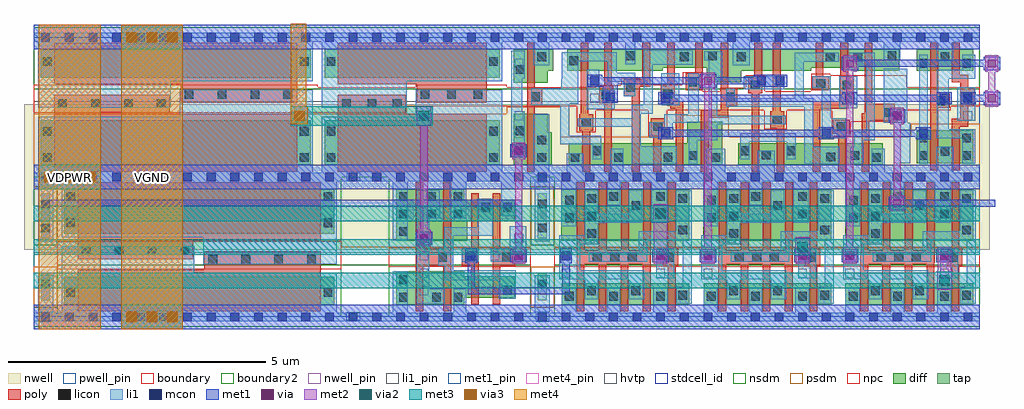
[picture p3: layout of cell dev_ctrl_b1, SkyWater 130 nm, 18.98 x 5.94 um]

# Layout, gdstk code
from math import pi, radians
import gdstk
lib = gdstk.Library(unit=1e-6, precision=1e-09)
def R(c, l, rs):  # rectangles x0, y0, x1, y1
    for r in rs: c.add(gdstk.rectangle(r[:2], r[2:], *l))
def A(c, l, x, y, w, h, nx, ny, dx, dy):  # array of equal rectangles
    R(c, l, [(x+i*dx, y+j*dy, x+i*dx+w, y+j*dy+h) for i in range(nx) for j in range(ny)])
def P(c, l, *ps):  # polygons
    for p in ps: c.add(gdstk.Polygon(p, *l))
nwell_pin = (64, 16)
nwell = (64, 20)
diff = (65, 20)
tap = (65, 44)
poly = (66, 20)
licon = (66, 44)
li1_pin = (67, 16)
li1 = (67, 20)
mcon = (67, 44)
met1_pin = (68, 16)
met1 = (68, 20)
via = (68, 44)
met2 = (69, 20)
via2 = (69, 44)
met3 = (70, 20)
via3 = (70, 44)
met4_pin = (71, 16)
met4 = (71, 20)
hvtp = (78, 44)
stdcell_id = (81, 4)
nsdm = (93, 44)
psdm = (94, 20)
npc = (95, 20)
pwell_pin = (122, 16)
boundary = (235, 4)
boundary2 = (236, 0)

sky130_fd_sc_hd__tapvpwr = lib.new_cell('sky130_fd_sc_hd__tapvpwrvgnd_1')
R(sky130_fd_sc_hd__tapvpwr, nwell, [(-0.19,1.305,0.65,2.91)])
R(sky130_fd_sc_hd__tapvpwr, tap, [(0.145,0.32,0.315,0.845), (0.145,1.525,0.315,2.4)])
R(sky130_fd_sc_hd__tapvpwr, licon, [(0.145,0.555,0.315,0.725), (0.145,1.645,0.315,1.815), (0.145,2.11,0.315,2.28)])
R(sky130_fd_sc_hd__tapvpwr, li1, [(0,-0.085,0.46,0.085), (0.085,0,0.375,0.81), (0.085,1.47,0.375,2.72), (0,2.635,0.46,2.805)])
R(sky130_fd_sc_hd__tapvpwr, mcon, [(0.145,-0.085,0.315,0.085), (0.145,2.635,0.315,2.805)])
R(sky130_fd_sc_hd__tapvpwr, met1_pin, [(0.105,-0.09,0.36,0.1), (0.11,2.62,0.375,2.765)])
R(sky130_fd_sc_hd__tapvpwr, met1, [(0,-0.24,0.46,0.24), (0,2.48,0.46,2.96)])
R(sky130_fd_sc_hd__tapvpwr, hvtp, [(0,1.25,0.46,2.72)])
R(sky130_fd_sc_hd__tapvpwr, stdcell_id, [(0,0,0.46,2.72)])
R(sky130_fd_sc_hd__tapvpwr, nsdm, [(0,-0.19,0.46,0.19), (0,1.395,0.46,2.53)])
R(sky130_fd_sc_hd__tapvpwr, psdm, [(0,0.19,0.46,0.975), (0,2.53,0.46,2.91)])
sky130_fd_sc_hd__tapvpwr.add(gdstk.Label('VPWR', (0.23,2.72), layer=68, texttype=5))
sky130_fd_sc_hd__tapvpwr.add(gdstk.Label('VGND', (0.23,0), layer=68, texttype=5))
sky130_fd_sc_hd__tapvpwr.add(gdstk.Label('tapvpwrvgnd_1', (0,0), layer=83, texttype=44))

sky130_fd_sc_hd__fill_2 = lib.new_cell('sky130_fd_sc_hd__fill_2')
R(sky130_fd_sc_hd__fill_2, nwell_pin, [(0.14,2.675,0.31,2.765)])
R(sky130_fd_sc_hd__fill_2, nwell, [(-0.19,1.305,1.11,2.91)])
R(sky130_fd_sc_hd__fill_2, mcon, [(0.145,-0.085,0.315,0.085), (0.605,-0.085,0.775,0.085), (0.145,2.635,0.315,2.805), (0.605,2.635,0.775,2.805)])
R(sky130_fd_sc_hd__fill_2, met1_pin, [(0.1,-0.07,0.365,0.09), (0.105,2.65,0.365,2.805)])
R(sky130_fd_sc_hd__fill_2, hvtp, [(0,1.25,0.92,2.72)])
R(sky130_fd_sc_hd__fill_2, stdcell_id, [(0,0,0.92,2.72)])
R(sky130_fd_sc_hd__fill_2, nsdm, [(0,-0.19,0.92,1.015)])
R(sky130_fd_sc_hd__fill_2, psdm, [(0,1.355,0.92,2.91)])
R(sky130_fd_sc_hd__fill_2, pwell_pin, [(0.155,-0.05,0.315,0.06)])
sky130_fd_sc_hd__fill_2.add(gdstk.FlexPath([(0,0),(0.92,0)], 0.17, ends="flush", simple_path=True, layer=67, datatype=20))  # li1
sky130_fd_sc_hd__fill_2.add(gdstk.FlexPath([(0,2.72),(0.92,2.72)], 0.17, ends="flush", simple_path=True, layer=67, datatype=20))  # li1
sky130_fd_sc_hd__fill_2.add(gdstk.FlexPath([(0,2.72),(0.92,2.72)], 0.48, ends="flush", simple_path=True, layer=68, datatype=20))  # met1
sky130_fd_sc_hd__fill_2.add(gdstk.FlexPath([(0,0),(0.92,0)], 0.48, ends="flush", simple_path=True, layer=68, datatype=20))  # met1
sky130_fd_sc_hd__fill_2.add(gdstk.Label('VGND', (0.23,0), layer=68, texttype=5))
sky130_fd_sc_hd__fill_2.add(gdstk.Label('VPWR', (0.23,2.72), layer=68, texttype=5))
sky130_fd_sc_hd__fill_2.add(gdstk.Label('VPB', (0.23,2.72), layer=64, texttype=5))
sky130_fd_sc_hd__fill_2.add(gdstk.Label('VNB', (0.23,0), layer=64, texttype=59))
sky130_fd_sc_hd__fill_2.add(gdstk.Label('fill_2', (0,0), layer=83, texttype=44))

sky130_fd_sc_hd__dfrtp_1 = lib.new_cell('sky130_fd_sc_hd__dfrtp_1')
R(sky130_fd_sc_hd__dfrtp_1, nwell_pin, [(0.145,2.635,0.315,2.805)])
R(sky130_fd_sc_hd__dfrtp_1, nwell, [(-0.19,1.305,9.39,2.91)])
R(sky130_fd_sc_hd__dfrtp_1, diff, [(0.135,0.235,1.225,0.655), (0.135,1.815,1.225,2.455), (3.305,2.065,4.7,2.485)])
P(sky130_fd_sc_hd__dfrtp_1, diff, [(8,2.485),(5.015,2.485),(5.015,1.645),(5.695,1.645),(5.695,2.065),(8,2.065)],
  [(9.065,2.485),(8.325,2.485),(8.325,1.845),(8.405,1.845),(8.405,1.485),(9.065,1.485)],
  [(9.065,0.885),(8.405,0.885),(8.405,0.655),(8.295,0.655),(8.295,0.235),(9.065,0.235)],
  [(8.025,0.655),(6.165,0.655),(6.165,0.595),(5.315,0.595),(5.315,0.875),(4.645,0.875),(4.645,0.655),(3.285,0.655),(3.285,0.595),(2.49,0.595),(2.49,0.655),(1.565,0.655),(1.565,0.235),(8.025,0.235)],
  [(3.335,2.485),(1.89,2.485),(1.89,2.065),(3.33,2.065),(3.33,2.48),(3.335,2.48)])
R(sky130_fd_sc_hd__dfrtp_1, poly, [(3.875,0.105,4.025,1.515), (4.29,1.055,4.44,2.615), (3.805,1.445,4.08,1.775), (3.805,1.76,3.955,2.615)])
P(sky130_fd_sc_hd__dfrtp_1, poly, [(7.79,1.825),(7.73,1.825),(7.73,2.615),(7.58,2.615),(7.58,1.825),(7.52,1.825),(7.52,1.495),(7.615,1.495),(7.615,0.105),(7.765,0.105),(7.765,1.495),(7.79,1.495)],
  [(0.545,0.88),(0.38,0.88),(0.38,1.59),(0.545,1.59),(0.545,2.585),(0.395,2.585),(0.395,1.74),(0.23,1.74),(0.23,1.325),(0.11,1.325),(0.11,0.995),(0.23,0.995),(0.23,0.73),(0.395,0.73),(0.395,0.105),(0.545,0.105)],
  [(0.965,2.585),(0.815,2.585),(0.815,1.37),(0.59,1.37),(0.59,1.1),(0.815,1.1),(0.815,0.105),(0.965,0.105)],
  [(2.3,2.615),(2.15,2.615),(2.15,1.63),(1.655,1.63),(1.655,1.3),(2.09,1.3),(2.09,0.105),(2.24,0.105),(2.24,1.48),(2.3,1.48)],
  [(3.255,2.615),(3.105,2.615),(3.105,1.395),(2.565,1.395),(2.565,1.095),(2.45,1.095),(2.45,0.765),(2.565,0.765),(2.565,0.105),(2.715,0.105),(2.715,0.765),(2.72,0.765),(2.72,1.245),(3.255,1.245)],
  [(2.86,1.875),(2.76,1.875),(2.76,2.615),(2.61,2.615),(2.61,1.875),(2.53,1.875),(2.53,1.605),(2.86,1.605)],
  [(3.26,1.035),(2.93,1.035),(2.93,0.765),(3.045,0.765),(3.045,0.105),(3.195,0.105),(3.195,0.765),(3.26,0.765)],
  [(4.505,1.095),(4.235,1.095),(4.235,0.105),(4.385,0.105),(4.385,0.765),(4.505,0.765)],
  [(5.425,2.615),(5.275,2.615),(5.275,1.57),(4.895,1.57),(4.895,1.335),(4.715,1.335),(4.715,1.005),(4.895,1.005),(4.895,0.105),(5.045,0.105),(5.045,1.42),(5.425,1.42)],
  [(5.725,1.035),(5.39,1.035),(5.39,0.105),(5.54,0.105),(5.54,0.705),(5.725,0.705)],
  [(6.205,1.275),(6.085,1.275),(6.085,1.335),(6.02,1.335),(6.02,1.395),(5.92,1.395),(5.92,2.615),(5.77,2.615),(5.77,1.245),(5.875,1.245),(5.875,1.185),(5.935,1.185),(5.935,0.105),(6.085,0.105),(6.085,0.945),(6.205,0.945)],
  [(6.4,1.905),(6.35,1.905),(6.35,2.615),(6.2,2.615),(6.2,1.905),(6.13,1.905),(6.13,1.575),(6.4,1.575)],
  [(6.925,1.145),(6.77,1.145),(6.77,2.615),(6.62,2.615),(6.62,0.965),(6.415,0.965),(6.415,0.105),(6.565,0.105),(6.565,0.815),(6.925,0.815)],
  [(7.405,1.285),(7.31,1.285),(7.31,2.615),(7.16,2.615),(7.16,1.285),(7.135,1.285),(7.135,0.955),(7.16,0.955),(7.16,0.105),(7.31,0.105),(7.31,0.955),(7.405,0.955)],
  [(8.805,2.615),(8.655,2.615),(8.655,1.325),(8.51,1.325),(8.51,0.995),(8.655,0.995),(8.655,0.105),(8.805,0.105)])
R(sky130_fd_sc_hd__dfrtp_1, licon, [(1.625,0.275,1.795,0.445), (5.115,0.275,5.285,0.445), (6.725,0.275,6.895,0.445), (0.595,0.295,0.765,0.465), (4.555,0.295,4.725,0.465), (5.665,0.295,5.835,0.465), (8.435,0.295,8.605,0.465), (2.29,0.305,2.46,0.475), (2.825,0.305,2.995,0.475), (7.815,0.375,7.985,0.545), (0.175,0.425,0.345,0.595), (1.015,0.425,1.185,0.595), (8.855,0.545,9.025,0.715), (5.505,0.785,5.675,0.955), (3.01,0.815,3.18,0.985), (2.5,0.845,2.67,1.015), (4.285,0.845,4.455,1.015), (6.705,0.895,6.875,1.065), (5.985,1.025,6.155,1.195), (7.185,1.035,7.355,1.205), (0.16,1.075,0.33,1.245), (8.56,1.075,8.73,1.245), (4.765,1.085,4.935,1.255), (0.67,1.15,0.84,1.32), (1.705,1.38,1.875,1.55), (3.855,1.525,4.025,1.695), (7.57,1.575,7.74,1.745), (2.61,1.655,2.78,1.825), (6.18,1.655,6.35,1.825), (8.855,1.735,9.025,1.905), (0.175,1.875,0.345,2.045), (1.015,1.875,1.185,2.045), (8.435,1.915,8.605,2.085), (8.855,2.075,9.025,2.245), (3.585,2.125,3.755,2.295), (4.49,2.125,4.66,2.295), (7.36,2.125,7.53,2.295), (0.595,2.135,0.765,2.305), (4.07,2.205,4.24,2.375), (0.175,2.215,0.345,2.385), (1.015,2.215,1.185,2.385), (2.35,2.215,2.52,2.385), (5.495,2.215,5.665,2.385), (2.815,2.245,2.985,2.415), (5.98,2.25,6.15,2.42), (1.93,2.255,2.1,2.425), (5.055,2.255,5.225,2.425), (6.94,2.255,7.11,2.425), (7.79,2.255,7.96,2.425), (8.435,2.255,8.605,2.425)])
A(sky130_fd_sc_hd__dfrtp_1, li1_pin, 8.88, 1.445, 0.17, 0.17, 1, 3, 0, 0.34)
R(sky130_fd_sc_hd__dfrtp_1, li1_pin, [(8.88,0.425,9.05,0.595), (7.405,0.765,7.575,0.935), (0.15,1.105,0.32,1.275), (7.405,1.105,7.575,1.275), (0.15,1.445,0.32,1.615), (1.525,1.445,1.695,1.615)])
R(sky130_fd_sc_hd__dfrtp_1, li1, [(0,-0.085,9.2,0.085), (1.545,-0.03,1.875,0.445), (8.38,0.05,8.685,0.545), (4.475,0.055,4.805,0.545), (0.515,0.06,0.845,0.465), (6.705,0.065,6.895,0.525), (1.015,0.345,1.185,2.465), (1.415,0.615,1.875,1.665), (5.845,0.705,6.195,1.325), (2.385,0.765,2.735,1.385), (3.805,0.765,4.595,1.015), (0.09,0.975,0.44,1.625), (8.38,1.495,8.685,2.71), (3.775,1.525,5.13,1.695), (1.355,1.665,1.68,2.45), (0.515,2.135,0.845,2.665), (4.955,2.175,5.325,2.675), (6.94,2.175,7.19,2.69), (3.99,2.205,4.32,2.69), (7.71,2.255,8.04,2.7)])
P(sky130_fd_sc_hd__dfrtp_1, li1, [(0.84,1.965),(0.345,1.965),(0.345,2.465),(0.09,2.465),(0.09,1.795),(0.61,1.795),(0.61,0.805),(0.09,0.805),(0.09,0.345),(0.345,0.345),(0.345,0.635),(0.84,0.635)],
  [(2.54,0.475),(2.215,0.475),(2.215,1.835),(2.44,1.835),(2.44,2.135),(2.52,2.135),(2.52,2.465),(2.27,2.465),(2.27,2.005),(2.045,2.005),(2.045,0.305),(2.54,0.305)],
  [(3.26,0.985),(3.075,0.985),(3.075,1.965),(2.61,1.965),(2.61,1.575),(2.905,1.575),(2.905,0.765),(3.26,0.765)],
  [(4.935,1.355),(3.415,1.355),(3.415,2.465),(2.735,2.465),(2.735,2.135),(3.245,2.135),(3.245,1.185),(3.43,1.185),(3.43,0.475),(2.745,0.475),(2.745,0.305),(3.6,0.305),(3.6,1.185),(4.765,1.185),(4.765,1.005),(4.935,1.005)],
  [(9.11,2.325),(8.855,2.325),(8.855,1.445),(8.9,1.445),(8.9,0.795),(8.855,0.795),(8.855,0.265),(9.11,0.265)],
  [(5.665,2.465),(5.495,2.465),(5.495,2.005),(5.105,2.005),(5.105,0.835),(5.015,0.835),(5.015,0.275),(5.365,0.275),(5.365,0.445),(5.275,0.445),(5.275,1.835),(5.665,1.835)],
  [(6.43,1.955),(5.97,1.955),(5.97,1.665),(5.465,1.665),(5.465,0.705),(5.675,0.705),(5.675,1.495),(6.14,1.495),(6.14,1.655),(6.43,1.655)],
  [(7.645,1.405),(7.105,1.405),(7.105,1.035),(7.405,1.035),(7.405,0.635),(7.645,0.635)],
  [(7.82,1.745),(6.77,1.745),(6.77,2.465),(5.9,2.465),(5.9,2.125),(6.6,2.125),(6.6,1.485),(6.365,1.485),(6.365,0.535),(5.585,0.535),(5.585,0.255),(6.535,0.255),(6.535,1.315),(6.77,1.315),(6.77,1.575),(7.82,1.575)],
  [(9.2,2.805),(0,2.805),(0,2.635),(1.85,2.635),(1.85,2.175),(2.1,2.175),(2.1,2.635),(9.2,2.635)],
  [(8.73,1.325),(8.16,1.325),(8.16,2.085),(7.53,2.085),(7.53,2.375),(7.36,2.375),(7.36,1.915),(7.99,1.915),(7.99,1.295),(7.815,1.295),(7.815,0.465),(7.235,0.465),(7.235,0.865),(6.925,0.865),(6.925,1.145),(6.705,1.145),(6.705,0.695),(7.065,0.695),(7.065,0.295),(8.135,0.295),(8.135,0.82),(8.14,0.82),(8.14,0.995),(8.73,0.995)],
  [(4.66,2.375),(4.49,2.375),(4.49,2.035),(3.755,2.035),(3.755,2.375),(3.585,2.375),(3.585,1.865),(4.66,1.865)])
A(sky130_fd_sc_hd__dfrtp_1, mcon, 0.145, -0.085, 0.17, 0.17, 20, 2, 0.46, 2.72)
R(sky130_fd_sc_hd__dfrtp_1, mcon, [(3.805,0.765,3.975,0.935), (4.165,0.765,4.335,0.935), (7.405,0.765,7.575,0.935), (7.105,1.08,7.275,1.25), (0.61,1.105,0.78,1.275), (2.445,1.105,2.615,1.275), (6.025,1.105,6.195,1.275), (1.015,1.785,1.185,1.955), (2.905,1.785,3.075,1.955), (6.025,1.785,6.195,1.955)])
R(sky130_fd_sc_hd__dfrtp_1, met1_pin, [(0.145,-0.085,0.315,0.085), (0.145,2.635,0.315,2.805)])
R(sky130_fd_sc_hd__dfrtp_1, met1, [(7.045,0.91,7.335,1.28), (0.55,1.075,0.84,1.305), (5.965,1.075,6.255,1.305), (0.955,1.755,1.245,1.985), (5.965,1.755,6.255,1.985)])
P(sky130_fd_sc_hd__dfrtp_1, met1, [(7.635,0.965),(7.335,0.965),(7.335,0.92),(4.395,0.92),(4.395,0.965),(3.745,0.965),(3.745,0.735),(4.395,0.735),(4.395,0.78),(7.345,0.78),(7.345,0.735),(7.635,0.735)],
  [(6.075,1.94),(3.135,1.94),(3.135,1.985),(2.845,1.985),(2.845,1.94),(1.185,1.94),(1.185,1.8),(2.845,1.8),(2.845,1.755),(3.135,1.755),(3.135,1.8),(6.075,1.8)],
  [(6.045,1.26),(2.675,1.26),(2.675,1.305),(2.385,1.305),(2.385,1.26),(0.82,1.26),(0.82,1.12),(2.385,1.12),(2.385,1.075),(2.675,1.075),(2.675,1.12),(6.045,1.12)])
R(sky130_fd_sc_hd__dfrtp_1, hvtp, [(0,1.25,9.2,2.72)])
R(sky130_fd_sc_hd__dfrtp_1, stdcell_id, [(0,0,9.2,2.72)])
R(sky130_fd_sc_hd__dfrtp_1, nsdm, [(0,-0.19,9.2,1.015)])
P(sky130_fd_sc_hd__dfrtp_1, psdm, [(9.2,2.91),(0,2.91),(0,1.685),(1.35,1.685),(1.35,1.935),(4.885,1.935),(4.885,1.515),(5.825,1.515),(5.825,1.935),(8.155,1.935),(8.155,1.355),(9.2,1.355)])
R(sky130_fd_sc_hd__dfrtp_1, npc, [(3.755,1.365,4.195,1.795)])
P(sky130_fd_sc_hd__dfrtp_1, npc, [(9.2,1.345),(7.84,1.345),(7.84,1.845),(7.47,1.845),(7.47,1.42),(6.45,1.42),(6.45,1.925),(6.08,1.925),(6.08,1.42),(2.88,1.42),(2.88,1.925),(2.51,1.925),(2.51,1.65),(1.6,1.65),(1.6,1.42),(0.565,1.42),(0.565,1.345),(0,1.345),(0,0.975),(1.425,0.975),(1.425,0.745),(2.91,0.745),(2.91,0.715),(3.28,0.715),(3.28,1.05),(4.185,1.05),(4.185,0.745),(4.555,0.745),(4.555,0.985),(5.055,0.985),(5.055,1.05),(5.405,1.05),(5.405,0.685),(5.775,0.685),(5.775,0.925),(6.605,0.925),(6.605,0.795),(6.975,0.795),(6.975,0.935),(7.455,0.935),(7.455,0.975),(9.2,0.975)])
R(sky130_fd_sc_hd__dfrtp_1, pwell_pin, [(0.145,-0.085,0.315,0.085)])
R(sky130_fd_sc_hd__dfrtp_1, boundary2, [(0,0,9.2,2.72)])
sky130_fd_sc_hd__dfrtp_1.add(gdstk.FlexPath([(0,0),(9.2,0)], 0.48, ends="flush", simple_path=True, layer=68, datatype=20))  # met1
sky130_fd_sc_hd__dfrtp_1.add(gdstk.FlexPath([(0,2.72),(9.2,2.72)], 0.48, ends="flush", simple_path=True, layer=68, datatype=20))  # met1
sky130_fd_sc_hd__dfrtp_1.add(gdstk.Label('Q', (8.965,2.21), layer=67, texttype=5))
sky130_fd_sc_hd__dfrtp_1.add(gdstk.Label('Q', (8.965,1.87), layer=67, texttype=5))
sky130_fd_sc_hd__dfrtp_1.add(gdstk.Label('Q', (8.965,1.53), layer=67, texttype=5))
sky130_fd_sc_hd__dfrtp_1.add(gdstk.Label('Q', (8.965,0.51), layer=67, texttype=5))
sky130_fd_sc_hd__dfrtp_1.add(gdstk.Label('RESET_B', (7.49,0.85), layer=67, texttype=5))
sky130_fd_sc_hd__dfrtp_1.add(gdstk.Label('D', (1.61,1.53), layer=67, texttype=5))
sky130_fd_sc_hd__dfrtp_1.add(gdstk.Label('CLK', (0.235,1.53), layer=67, texttype=5))
sky130_fd_sc_hd__dfrtp_1.add(gdstk.Label('CLK', (0.235,1.19), layer=67, texttype=5))
sky130_fd_sc_hd__dfrtp_1.add(gdstk.Label('RESET_B', (7.49,1.19), layer=67, texttype=5))
sky130_fd_sc_hd__dfrtp_1.add(gdstk.Label('VGND', (0.23,0), layer=68, texttype=5))
sky130_fd_sc_hd__dfrtp_1.add(gdstk.Label('VPWR', (0.23,2.72), layer=68, texttype=5))
sky130_fd_sc_hd__dfrtp_1.add(gdstk.Label('VPB', (0.23,2.72), layer=64, texttype=5))
sky130_fd_sc_hd__dfrtp_1.add(gdstk.Label('VNB', (0.23,0), layer=64, texttype=59))
sky130_fd_sc_hd__dfrtp_1.add(gdstk.Label('dfrtp_1', (0,0), layer=83, texttype=44))

sky130_fd_sc_hd__decap_1 = lib.new_cell('sky130_fd_sc_hd__decap_12')
R(sky130_fd_sc_hd__decap_1, nwell_pin, [(0.145,2.635,0.315,2.805)])
R(sky130_fd_sc_hd__decap_1, nwell, [(-0.19,1.305,5.71,2.91)])
R(sky130_fd_sc_hd__decap_1, diff, [(0.135,0.235,5.385,0.785), (0.135,1.615,5.385,2.485)])
P(sky130_fd_sc_hd__decap_1, poly, [(5.125,2.615),(0.395,2.615),(0.395,1.125),(2.645,1.125),(2.645,1.485),(5.125,1.485)],
  [(5.125,1.275),(2.855,1.275),(2.855,0.915),(0.395,0.915),(0.395,0.105),(5.125,0.105)])
A(sky130_fd_sc_hd__decap_1, licon, 2.935, 1.025, 0.17, 0.17, 4, 1, 0.64, 0)
A(sky130_fd_sc_hd__decap_1, licon, 0.475, 1.205, 0.17, 0.17, 4, 1, 0.64, 0)
R(sky130_fd_sc_hd__decap_1, licon, [(0.175,0.39,0.345,0.56), (5.175,0.39,5.345,0.56), (0.175,1.745,0.345,1.915), (5.175,1.745,5.345,1.915), (0.175,2.255,0.345,2.425), (5.175,2.255,5.345,2.425)])
P(sky130_fd_sc_hd__decap_1, li1, [(5.52,0.085),(5.43,0.085),(5.43,0.855),(2.665,0.855),(2.665,1.375),(0.085,1.375),(0.085,0.085),(0,0.085),(0,-0.085),(5.52,-0.085)],
  [(5.52,2.805),(0,2.805),(0,2.635),(0.085,2.635),(0.085,1.545),(2.835,1.545),(2.835,1.025),(5.43,1.025),(5.43,2.635),(5.52,2.635)])
A(sky130_fd_sc_hd__decap_1, mcon, 0.145, -0.085, 0.17, 0.17, 12, 2, 0.46, 2.72)
R(sky130_fd_sc_hd__decap_1, met1_pin, [(0.145,-0.085,0.315,0.085), (0.145,2.635,0.315,2.805)])
R(sky130_fd_sc_hd__decap_1, hvtp, [(0,1.25,5.52,2.72)])
R(sky130_fd_sc_hd__decap_1, stdcell_id, [(0,0,5.52,2.72)])
R(sky130_fd_sc_hd__decap_1, nsdm, [(0,-0.19,5.52,1.015)])
R(sky130_fd_sc_hd__decap_1, psdm, [(0,1.485,5.52,2.91)])
R(sky130_fd_sc_hd__decap_1, npc, [(0,0.925,5.52,1.475)])
R(sky130_fd_sc_hd__decap_1, pwell_pin, [(0.145,-0.085,0.315,0.085)])
R(sky130_fd_sc_hd__decap_1, boundary2, [(0,0,5.52,2.72)])
sky130_fd_sc_hd__decap_1.add(gdstk.FlexPath([(0,2.72),(5.52,2.72)], 0.48, ends="flush", simple_path=True, layer=68, datatype=20))  # met1
sky130_fd_sc_hd__decap_1.add(gdstk.FlexPath([(0,0),(5.52,0)], 0.48, ends="flush", simple_path=True, layer=68, datatype=20))  # met1
sky130_fd_sc_hd__decap_1.add(gdstk.Label('VGND', (0.23,0), layer=68, texttype=5))
sky130_fd_sc_hd__decap_1.add(gdstk.Label('VPWR', (0.23,2.72), layer=68, texttype=5))
sky130_fd_sc_hd__decap_1.add(gdstk.Label('VPB', (0.23,2.72), layer=64, texttype=5))
sky130_fd_sc_hd__decap_1.add(gdstk.Label('VNB', (0.23,0), layer=64, texttype=59))
sky130_fd_sc_hd__decap_1.add(gdstk.Label('decap_12', (0,0), layer=83, texttype=44))

sky130_fd_sc_hd__decap_8 = lib.new_cell('sky130_fd_sc_hd__decap_8')
R(sky130_fd_sc_hd__decap_8, nwell_pin, [(0.145,2.635,0.315,2.805)])
R(sky130_fd_sc_hd__decap_8, nwell, [(-0.19,1.305,3.87,2.91)])
R(sky130_fd_sc_hd__decap_8, diff, [(0.135,0.235,3.545,0.785), (0.135,1.615,3.545,2.485)])
P(sky130_fd_sc_hd__decap_8, poly, [(3.285,2.615),(0.395,2.615),(0.395,1.125),(1.715,1.125),(1.715,1.485),(3.285,1.485)],
  [(3.285,1.275),(1.925,1.275),(1.925,0.915),(0.395,0.915),(0.395,0.105),(3.285,0.105)])
A(sky130_fd_sc_hd__decap_8, licon, 2.005, 1.025, 0.17, 0.17, 3, 1, 0.515, 0)
A(sky130_fd_sc_hd__decap_8, licon, 0.475, 1.205, 0.17, 0.17, 3, 1, 0.495, 0)
R(sky130_fd_sc_hd__decap_8, licon, [(0.175,0.39,0.345,0.56), (3.335,0.39,3.505,0.56), (0.175,1.745,0.345,1.915), (3.335,1.745,3.505,1.915), (0.175,2.255,0.345,2.425), (3.335,2.255,3.505,2.425)])
P(sky130_fd_sc_hd__decap_8, li1, [(3.68,0.085),(3.595,0.085),(3.595,0.855),(1.735,0.855),(1.735,1.375),(0.085,1.375),(0.085,0.085),(0,0.085),(0,-0.085),(3.68,-0.085)],
  [(3.68,2.805),(0,2.805),(0,2.635),(0.085,2.635),(0.085,1.545),(1.905,1.545),(1.905,1.025),(3.595,1.025),(3.595,2.635),(3.68,2.635)])
A(sky130_fd_sc_hd__decap_8, mcon, 0.145, -0.085, 0.17, 0.17, 8, 2, 0.46, 2.72)
R(sky130_fd_sc_hd__decap_8, met1_pin, [(0.145,-0.085,0.315,0.085), (0.145,2.635,0.315,2.805)])
R(sky130_fd_sc_hd__decap_8, hvtp, [(0,1.25,3.68,2.72)])
R(sky130_fd_sc_hd__decap_8, stdcell_id, [(0,0,3.68,2.72)])
R(sky130_fd_sc_hd__decap_8, nsdm, [(0,-0.19,3.68,1.015)])
R(sky130_fd_sc_hd__decap_8, psdm, [(0,1.485,3.68,2.91)])
P(sky130_fd_sc_hd__decap_8, npc, [(3.68,1.345),(1.735,1.345),(1.735,1.475),(0,1.475),(0,0.975),(1.905,0.975),(1.905,0.925),(3.68,0.925)])
R(sky130_fd_sc_hd__decap_8, pwell_pin, [(0.145,-0.085,0.315,0.085)])
R(sky130_fd_sc_hd__decap_8, boundary2, [(0,0,3.68,2.72)])
sky130_fd_sc_hd__decap_8.add(gdstk.FlexPath([(0,2.72),(3.68,2.72)], 0.48, ends="flush", simple_path=True, layer=68, datatype=20))  # met1
sky130_fd_sc_hd__decap_8.add(gdstk.FlexPath([(0,0),(3.68,0)], 0.48, ends="flush", simple_path=True, layer=68, datatype=20))  # met1
sky130_fd_sc_hd__decap_8.add(gdstk.Label('VPWR', (0.23,2.72), layer=68, texttype=5))
sky130_fd_sc_hd__decap_8.add(gdstk.Label('VGND', (0.23,0), layer=68, texttype=5))
sky130_fd_sc_hd__decap_8.add(gdstk.Label('VPB', (0.23,2.72), layer=64, texttype=5))
sky130_fd_sc_hd__decap_8.add(gdstk.Label('VNB', (0.23,0), layer=64, texttype=59))
sky130_fd_sc_hd__decap_8.add(gdstk.Label('decap_8', (0,0), layer=83, texttype=44))

sky130_fd_sc_hd__clkbuf_ = lib.new_cell('sky130_fd_sc_hd__clkbuf_4')
R(sky130_fd_sc_hd__clkbuf_, nwell_pin, [(0.145,2.635,0.315,2.805)])
R(sky130_fd_sc_hd__clkbuf_, nwell, [(-0.19,1.305,2.95,2.91)])
R(sky130_fd_sc_hd__clkbuf_, diff, [(0.135,0.235,2.615,0.655), (0.135,1.485,2.62,2.485)])
P(sky130_fd_sc_hd__clkbuf_, poly, [(2.325,1.185),(2.32,1.185),(2.32,2.615),(2.17,2.615),(2.17,1.295),(1.89,1.295),(1.89,2.615),(1.74,2.615),(1.74,1.295),(1.46,1.295),(1.46,2.615),(1.31,2.615),(1.31,1.295),(1.03,1.295),(1.03,2.615),(0.88,2.615),(0.88,1.05),(0.885,1.05),(0.885,0.105),(1.035,0.105),(1.035,1.02),(1.315,1.02),(1.315,0.105),(1.465,0.105),(1.465,1.02),(1.745,1.02),(1.745,0.105),(1.895,0.105),(1.895,1.02),(2.175,1.02),(2.175,0.105),(2.325,0.105)],
  [(0.645,1.325),(0.55,1.325),(0.55,2.615),(0.4,2.615),(0.4,1.325),(0.345,1.325),(0.345,0.995),(0.4,0.995),(0.4,0.105),(0.55,0.105),(0.55,0.995),(0.645,0.995)])
A(sky130_fd_sc_hd__clkbuf_, licon, 1.155, 1.075, 0.17, 0.17, 3, 1, 0.34, 0)
A(sky130_fd_sc_hd__clkbuf_, licon, 1.945, 1.535, 0.17, 0.17, 1, 3, 0, 0.34)
R(sky130_fd_sc_hd__clkbuf_, licon, [(0.605,0.315,0.775,0.485), (1.52,0.315,1.69,0.485), (2.38,0.315,2.55,0.485), (0.175,0.335,0.345,0.505), (1.09,0.425,1.26,0.595), (1.95,0.425,2.12,0.595), (0.425,1.075,0.595,1.245), (0.175,1.605,0.345,1.775), (2.375,1.845,2.545,2.015), (0.605,1.915,0.775,2.085), (1.085,2.08,1.255,2.25), (2.375,2.185,2.545,2.355), (0.175,2.215,0.345,2.385), (0.605,2.255,0.775,2.425), (1.515,2.255,1.685,2.425)])
R(sky130_fd_sc_hd__clkbuf_, li1_pin, [(0.605,0.765,0.775,0.935), (2.445,0.765,2.615,0.935), (0.605,1.105,0.775,1.275), (2.445,1.105,2.615,1.275), (1.985,1.445,2.155,1.615)])
R(sky130_fd_sc_hd__clkbuf_, li1, [(0.425,0.755,0.775,1.325)])
P(sky130_fd_sc_hd__clkbuf_, li1, [(2.76,0.085),(2.615,0.085),(2.615,0.565),(2.335,0.565),(2.335,0.085),(1.73,0.085),(1.73,0.565),(1.475,0.565),(1.475,0.085),(0.83,0.085),(0.83,0.565),(0.555,0.565),(0.555,0.085),(0,0.085),(0,-0.085),(2.76,-0.085)],
  [(2.66,1.585),(2.165,1.585),(2.165,2.465),(1.905,2.465),(1.905,2.005),(1.305,2.005),(1.305,2.465),(1.045,2.465),(1.045,1.835),(1.905,1.835),(1.905,1.415),(2.255,1.415),(2.255,0.905),(1.01,0.905),(1.01,0.345),(1.305,0.345),(1.305,0.735),(1.905,0.735),(1.905,0.345),(2.165,0.345),(2.165,0.735),(2.66,0.735)],
  [(2.085,1.245),(1.115,1.245),(1.115,1.665),(0.395,1.665),(0.395,2.465),(0.085,2.465),(0.085,0.255),(0.385,0.255),(0.385,0.585),(0.255,0.585),(0.255,1.495),(0.945,1.495),(0.945,1.075),(2.085,1.075)],
  [(2.76,2.805),(0,2.805),(0,2.635),(0.565,2.635),(0.565,1.835),(0.875,1.835),(0.875,2.635),(1.475,2.635),(1.475,2.175),(1.73,2.175),(1.73,2.635),(2.335,2.635),(2.335,1.765),(2.62,1.765),(2.62,2.635),(2.76,2.635)])
A(sky130_fd_sc_hd__clkbuf_, mcon, 0.145, -0.085, 0.17, 0.17, 6, 2, 0.46, 2.72)
R(sky130_fd_sc_hd__clkbuf_, met1_pin, [(0.145,-0.085,0.315,0.085), (0.145,2.635,0.315,2.805)])
R(sky130_fd_sc_hd__clkbuf_, hvtp, [(0,1.25,2.76,2.72)])
R(sky130_fd_sc_hd__clkbuf_, stdcell_id, [(0,0,2.76,2.72)])
R(sky130_fd_sc_hd__clkbuf_, nsdm, [(0,-0.19,2.76,1.015)])
R(sky130_fd_sc_hd__clkbuf_, psdm, [(0,1.355,2.76,2.91)])
R(sky130_fd_sc_hd__clkbuf_, npc, [(0,0.975,2.76,1.345)])
R(sky130_fd_sc_hd__clkbuf_, pwell_pin, [(0.145,-0.085,0.315,0.085)])
R(sky130_fd_sc_hd__clkbuf_, boundary2, [(0,0,2.76,2.72)])
sky130_fd_sc_hd__clkbuf_.add(gdstk.FlexPath([(0,0),(2.76,0)], 0.48, ends="flush", simple_path=True, layer=68, datatype=20))  # met1
sky130_fd_sc_hd__clkbuf_.add(gdstk.FlexPath([(0,2.72),(2.76,2.72)], 0.48, ends="flush", simple_path=True, layer=68, datatype=20))  # met1
sky130_fd_sc_hd__clkbuf_.add(gdstk.Label('X', (2.07,1.53), layer=67, texttype=5))
sky130_fd_sc_hd__clkbuf_.add(gdstk.Label('A', (0.69,0.85), layer=67, texttype=5))
sky130_fd_sc_hd__clkbuf_.add(gdstk.Label('X', (2.53,0.85), layer=67, texttype=5))
sky130_fd_sc_hd__clkbuf_.add(gdstk.Label('A', (0.69,1.19), layer=67, texttype=5))
sky130_fd_sc_hd__clkbuf_.add(gdstk.Label('X', (2.53,1.19), layer=67, texttype=5))
sky130_fd_sc_hd__clkbuf_.add(gdstk.Label('VGND', (0.23,0), layer=68, texttype=5))
sky130_fd_sc_hd__clkbuf_.add(gdstk.Label('VPWR', (0.23,2.72), layer=68, texttype=5))
sky130_fd_sc_hd__clkbuf_.add(gdstk.Label('VPB', (0.23,2.72), layer=64, texttype=5))
sky130_fd_sc_hd__clkbuf_.add(gdstk.Label('VNB', (0.23,0), layer=64, texttype=59))
sky130_fd_sc_hd__clkbuf_.add(gdstk.Label('clkbuf_4', (0,0), layer=83, texttype=44))

sky130_fd_sc_hd__and2_2 = lib.new_cell('sky130_fd_sc_hd__and2_2')
R(sky130_fd_sc_hd__and2_2, nwell_pin, [(0.145,2.635,0.315,2.805)])
R(sky130_fd_sc_hd__and2_2, nwell, [(-0.19,1.305,2.95,2.91)])
P(sky130_fd_sc_hd__and2_2, diff, [(2.615,2.485),(1.285,2.485),(1.285,2.275),(0.305,2.275),(0.305,1.855),(1.235,1.855),(1.235,1.485),(2.615,1.485)],
  [(2.615,0.885),(1.285,0.885),(1.285,0.795),(0.305,0.795),(0.305,0.375),(1.285,0.375),(1.285,0.235),(2.615,0.235)])
P(sky130_fd_sc_hd__and2_2, poly, [(0.735,2.405),(0.585,2.405),(0.585,1.325),(0.3,1.325),(0.3,0.995),(0.585,0.995),(0.585,0.245),(0.735,0.245)],
  [(1.335,1.325),(1.155,1.325),(1.155,2.405),(1.005,2.405),(1.005,0.245),(1.155,0.245),(1.155,0.995),(1.335,0.995)],
  [(2.235,2.615),(2.085,2.615),(2.085,1.325),(1.695,1.325),(1.695,2.615),(1.545,2.615),(1.545,0.105),(1.695,0.105),(1.695,0.995),(2.085,0.995),(2.085,0.105),(2.235,0.105)])
A(sky130_fd_sc_hd__and2_2, licon, 2.385, 1.575, 0.17, 0.17, 1, 3, 0, 0.34)
R(sky130_fd_sc_hd__and2_2, licon, [(1.325,0.295,1.495,0.465), (1.745,0.295,1.915,0.465), (2.385,0.295,2.555,0.465), (0.365,0.435,0.535,0.605), (2.385,0.635,2.555,0.805), (0.38,1.075,0.55,1.245), (1.085,1.075,1.255,1.245), (1.625,1.075,1.795,1.245), (1.325,1.915,1.495,2.085), (1.845,1.915,2.015,2.085), (0.365,2.045,0.535,2.215), (0.785,2.045,0.955,2.215), (1.325,2.255,1.495,2.425), (1.845,2.255,2.015,2.425)])
A(sky130_fd_sc_hd__and2_2, li1_pin, 1.985, 0.425, 0.17, 0.17, 1, 6, 0, 0.34)
A(sky130_fd_sc_hd__and2_2, li1_pin, 0.145, 1.105, 0.17, 0.17, 3, 1, 0.46, 0)
R(sky130_fd_sc_hd__and2_2, li1_pin, [(0.145,1.445,0.315,1.615)])
R(sky130_fd_sc_hd__and2_2, li1, [(1.005,1.075,1.335,1.325)])
P(sky130_fd_sc_hd__and2_2, li1, [(0.085,1.075),(0.085,1.765),(0.4,1.765),(0.4,1.325),(0.775,1.325),(0.775,1.075)],
  [(1.795,1.325),(1.675,1.325),(1.675,1.745),(1.035,1.745),(1.035,2.295),(0.735,2.295),(0.735,1.575),(1.505,1.575),(1.505,0.905),(0.285,0.905),(0.285,0.355),(0.615,0.355),(0.615,0.715),(1.675,0.715),(1.675,0.995),(1.795,0.995)],
  [(2.76,0.085),(2.675,0.085),(2.675,0.885),(2.385,0.885),(2.385,0.085),(1.495,0.085),(1.495,0.545),(1.245,0.545),(1.245,0.085),(0,0.085),(0,-0.085),(2.76,-0.085)],
  [(2.215,2.465),(1.765,2.465),(1.765,1.915),(1.965,1.915),(1.965,0.545),(1.665,0.545),(1.665,0.255),(2.215,0.255)],
  [(2.76,2.805),(0,2.805),(0,2.635),(0.285,2.635),(0.285,1.965),(0.565,1.965),(0.565,2.635),(1.245,2.635),(1.245,1.915),(1.575,1.915),(1.575,2.635),(2.385,2.635),(2.385,1.495),(2.675,1.495),(2.675,2.635),(2.76,2.635)])
A(sky130_fd_sc_hd__and2_2, mcon, 0.145, -0.085, 0.17, 0.17, 6, 2, 0.46, 2.72)
R(sky130_fd_sc_hd__and2_2, met1_pin, [(0.145,-0.085,0.315,0.085), (0.145,2.635,0.315,2.805)])
R(sky130_fd_sc_hd__and2_2, hvtp, [(0,1.25,2.76,2.72)])
R(sky130_fd_sc_hd__and2_2, stdcell_id, [(0,0,2.76,2.72)])
R(sky130_fd_sc_hd__and2_2, nsdm, [(0,-0.19,2.76,1.015)])
R(sky130_fd_sc_hd__and2_2, psdm, [(0,1.355,2.76,2.91)])
R(sky130_fd_sc_hd__and2_2, npc, [(0,0.975,2.76,1.345)])
R(sky130_fd_sc_hd__and2_2, pwell_pin, [(0.145,-0.085,0.315,0.085)])
R(sky130_fd_sc_hd__and2_2, boundary2, [(0,0,2.76,2.72)])
sky130_fd_sc_hd__and2_2.add(gdstk.FlexPath([(0,0),(2.76,0)], 0.48, ends="flush", simple_path=True, layer=68, datatype=20))  # met1
sky130_fd_sc_hd__and2_2.add(gdstk.FlexPath([(0,2.72),(2.76,2.72)], 0.48, ends="flush", simple_path=True, layer=68, datatype=20))  # met1
sky130_fd_sc_hd__and2_2.add(gdstk.Label('VPWR', (0.23,2.72), layer=68, texttype=5))
sky130_fd_sc_hd__and2_2.add(gdstk.Label('VGND', (0.23,0), layer=68, texttype=5))
sky130_fd_sc_hd__and2_2.add(gdstk.Label('A', (0.69,1.19), layer=67, texttype=5))
sky130_fd_sc_hd__and2_2.add(gdstk.Label('X', (2.07,0.85), layer=67, texttype=5))
sky130_fd_sc_hd__and2_2.add(gdstk.Label('A', (0.23,1.19), layer=67, texttype=5))
sky130_fd_sc_hd__and2_2.add(gdstk.Label('X', (2.07,0.51), layer=67, texttype=5))
sky130_fd_sc_hd__and2_2.add(gdstk.Label('X', (2.07,1.19), layer=67, texttype=5))
sky130_fd_sc_hd__and2_2.add(gdstk.Label('X', (2.07,1.53), layer=67, texttype=5))
sky130_fd_sc_hd__and2_2.add(gdstk.Label('X', (2.07,1.87), layer=67, texttype=5))
sky130_fd_sc_hd__and2_2.add(gdstk.Label('X', (2.07,2.21), layer=67, texttype=5))
sky130_fd_sc_hd__and2_2.add(gdstk.Label('B', (1.15,1.19), layer=67, texttype=5))
sky130_fd_sc_hd__and2_2.add(gdstk.Label('VPB', (0.23,2.72), layer=64, texttype=5))
sky130_fd_sc_hd__and2_2.add(gdstk.Label('VNB', (0.23,0), layer=64, texttype=59))
sky130_fd_sc_hd__and2_2.add(gdstk.Label('and2_2', (0,0), layer=83, texttype=44))

dev_ctrl_b1 = lib.new_cell('dev_ctrl_b1')
A(dev_ctrl_b1, li1, 8.425, 1.105, 0.17, 0.17, 3, 1, 0.92, 0)
R(dev_ctrl_b1, li1, [(12.105,1.105,12.275,1.275), (13.025,1.105,13.195,1.275), (14.865,1.105,15.035,1.275), (15.785,1.105,15.955,1.275), (17.625,1.105,17.795,1.275), (7.505,1.445,7.675,1.615), (9.345,3.145,9.515,3.315), (16.705,3.825,16.875,3.995), (18.085,4.165,18.255,4.335)])
A(dev_ctrl_b1, mcon, 8.425, 1.105, 0.17, 0.17, 3, 1, 0.92, 0)
R(dev_ctrl_b1, mcon, [(12.105,1.105,12.275,1.275), (13.025,1.105,13.195,1.275), (14.865,1.105,15.035,1.275), (15.785,1.105,15.955,1.275), (17.625,1.105,17.795,1.275), (7.505,1.445,7.675,1.615), (9.345,3.145,9.515,3.315), (16.705,3.825,16.875,3.995), (18.085,4.165,18.255,4.335)])
R(dev_ctrl_b1, met1, [(1.7,-0.21,2.9,0.21), (8.44,0.44,10.42,0.58), (8.44,0.58,8.58,1.045), (10.28,0.58,10.42,1.045), (8.395,1.045,8.625,1.335), (10.235,1.045,10.465,1.335), (9.27,1.06,9.59,1.32), (12.03,1.06,12.35,1.32), (12.95,1.06,13.27,1.32), (14.79,1.06,15.11,1.32), (15.71,1.06,16.03,1.32), (17.55,1.06,17.87,1.32), (9.36,1.32,9.5,2.14), (7.43,1.4,7.75,1.66), (16.63,2.08,16.95,2.14), (0.16,2.14,9.5,2.28), (16.63,2.14,18.7,2.28), (16.63,2.28,16.95,2.34), (0.1,2.51,1.3,2.93), (9.27,3.1,9.59,3.36), (16.63,3.78,16.95,4.04), (18.47,4.12,18.79,4.18), (18.025,4.135,18.315,4.18), (18.025,4.18,18.79,4.32), (18.025,4.32,18.315,4.365), (18.47,4.32,18.79,4.38), (12.95,4.46,13.27,4.52), (11.2,4.52,13.27,4.66), (12.95,4.66,13.27,4.72), (15.71,4.8,16.03,4.86), (18.47,4.8,18.79,4.86), (15.71,4.86,18.79,5), (15.71,5,16.03,5.06), (18.47,5,18.79,5.06), (1.7,5.23,2.9,5.65)])
A(dev_ctrl_b1, via, 1.905, -0.075, 0.15, 0.15, 3, 2, 0.32, 5.44)
A(dev_ctrl_b1, via, 0.305, 2.645, 0.15, 0.15, 3, 1, 0.32, 0)
R(dev_ctrl_b1, via, [(9.355,1.115,9.505,1.265), (12.115,1.115,12.265,1.265), (13.035,1.115,13.185,1.265), (14.875,1.115,15.025,1.265), (15.795,1.115,15.945,1.265), (17.635,1.115,17.785,1.265), (7.515,1.455,7.665,1.605), (16.715,2.135,16.865,2.285), (9.355,3.155,9.505,3.305), (16.715,3.835,16.865,3.985), (18.555,4.175,18.705,4.325), (13.035,4.515,13.185,4.665), (15.795,4.855,15.945,5.005), (18.555,4.855,18.705,5.005)])
R(dev_ctrl_b1, met2, [(1.7,-0.24,2.9,0.24), (17.57,0.525,17.85,0.895), (17.58,0.895,17.84,1.35), (9.3,1.03,9.56,1.35), (12.06,1.03,12.32,1.825), (12.98,1.03,13.24,1.35), (14.82,1.03,15.08,1.175), (15.74,1.03,16,1.35), (14.81,1.175,15.09,1.545), (9.36,1.35,9.5,3.07), (13.04,1.35,13.18,4.43), (15.8,1.35,15.94,4.77), (7.46,1.37,7.72,1.69), (7.52,1.69,7.66,3.725), (12.05,1.825,12.33,2.195), (16.66,2.05,16.92,2.37), (16.72,2.37,16.86,3.75), (0.1,2.48,1.3,2.96), (9.3,3.07,9.56,3.39), (7.45,3.725,7.73,4.095), (16.66,3.75,16.92,4.07), (18.5,4.09,18.76,4.41), (18.56,4.41,18.7,4.77), (12.98,4.43,13.24,4.75), (15.74,4.77,16,5.09), (18.5,4.77,18.76,5.09), (1.7,5.2,2.9,5.68)])
A(dev_ctrl_b1, via2, 1.8, -0.1, 0.2, 0.2, 3, 2, 0.4, 5.44)
A(dev_ctrl_b1, via2, 0.2, 2.62, 0.2, 0.2, 3, 1, 0.4, 0)
R(dev_ctrl_b1, via2, [(17.61,0.61,17.81,0.81), (14.85,1.26,15.05,1.46), (12.09,1.91,12.29,2.11), (7.49,3.81,7.69,4.01)])
A(dev_ctrl_b1, met3, 0, 0.56, 18.4, 0.3, 1, 3, 0, 0.65)
R(dev_ctrl_b1, met3, [(1.7,-0.24,2.9,0.24), (17.545,0.545,17.875,0.56), (17.545,0.86,17.875,0.875), (14.785,1.195,15.115,1.21), (14.785,1.51,15.115,1.525), (12.025,1.845,12.355,1.86), (12.025,2.16,12.355,2.175), (0.1,2.48,1.3,2.96), (5,3.72,7.755,4.1), (1.7,5.2,2.9,5.68)])
A(dev_ctrl_b1, via3, 1.8, -0.1, 0.2, 0.2, 3, 2, 0.4, 5.44)
A(dev_ctrl_b1, via3, 0.2, 2.62, 0.2, 0.2, 3, 1, 0.4, 0)
R(dev_ctrl_b1, via3, [(5.065,3.81,5.265,4.01)])
R(dev_ctrl_b1, met4_pin, [(0.1,-0.24,1.3,5.68), (1.7,-0.24,2.9,5.68)])
R(dev_ctrl_b1, met4, [(0.1,-0.24,1.3,5.68), (1.7,-0.24,2.9,5.68), (5,3.745,5.33,4.075), (5,4.075,5.3,5.7)])
R(dev_ctrl_b1, hvtp, [(5.765,2.345,5.94,2.665), (12.66,2.4,13.14,2.665), (9.255,2.425,9.795,2.455), (8.295,2.455,9.795,2.665), (0.675,2.665,5.94,2.775), (7.245,2.665,9.795,2.775), (10.49,2.665,15.42,2.775), (15.9,2.665,16.43,2.775), (17.255,2.665,18.18,2.805), (5.305,2.775,5.735,3.095), (8.985,2.775,9.415,2.805), (13.305,2.775,13.78,3.04)])
R(dev_ctrl_b1, nsdm, [(12.87,0.11,12.9,0.78), (15.63,0.11,15.66,0.78), (5.51,4.53,5.53,5.33), (9.19,4.53,9.21,5.33)])
R(dev_ctrl_b1, psdm, [(12.87,1.36,12.895,2.61), (15.63,1.36,15.655,2.61), (10.1,2.3,10.135,2.525), (9.975,2.525,10.135,2.61), (0.47,2.61,5.97,2.83), (6.92,2.61,8.5,2.83), (9.975,2.61,16.635,2.83), (17.05,2.61,18.39,2.86), (5.51,2.83,5.53,3.95), (9.19,2.83,9.21,3.95)])
R(dev_ctrl_b1, boundary, [(0,0,18.4,5.44)])
dev_ctrl_b1.add(gdstk.Reference(sky130_fd_sc_hd__tapvpwr, (9.66,0)))
dev_ctrl_b1.add(gdstk.Reference(sky130_fd_sc_hd__tapvpwr, (0,0)))
dev_ctrl_b1.add(gdstk.Reference(sky130_fd_sc_hd__fill_2, (5.98,0)))
dev_ctrl_b1.add(gdstk.Reference(sky130_fd_sc_hd__dfrtp_1, (18.4,5.44), rotation=pi))
dev_ctrl_b1.add(gdstk.Reference(sky130_fd_sc_hd__decap_1, (0,5.44), x_reflection=True))
dev_ctrl_b1.add(gdstk.Reference(sky130_fd_sc_hd__decap_1, (0.46,0)))
dev_ctrl_b1.add(gdstk.Reference(sky130_fd_sc_hd__decap_8, (5.52,5.44), x_reflection=True))
dev_ctrl_b1.add(gdstk.Reference(sky130_fd_sc_hd__clkbuf_, (18.4,0), rotation=pi, x_reflection=True))
dev_ctrl_b1.add(gdstk.Reference(sky130_fd_sc_hd__clkbuf_, (15.64,0), rotation=pi, x_reflection=True))
dev_ctrl_b1.add(gdstk.Reference(sky130_fd_sc_hd__clkbuf_, (12.88,0), rotation=pi, x_reflection=True))
dev_ctrl_b1.add(gdstk.Reference(sky130_fd_sc_hd__and2_2, (9.66,0), rotation=pi, x_reflection=True))
dev_ctrl_b1.add(gdstk.Label('VGND', (2.3,2.72), layer=71, texttype=5))
dev_ctrl_b1.add(gdstk.Label('VDPWR', (0.7,2.72), layer=71, texttype=5))

lib.write_gds('dev_ctrl_b1.gds')
